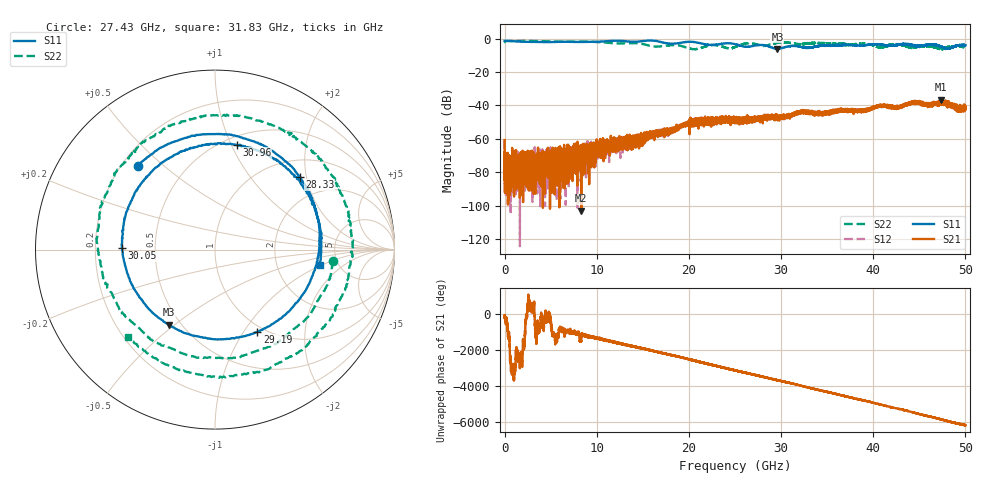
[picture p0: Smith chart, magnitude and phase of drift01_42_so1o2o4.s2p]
!Created with skrf (http://scikit-rf.org).
# Hz S RI R 50.0
!freq ReS11 ImS11 ReS21 ImS21 ReS12 ImS12 ReS22 ImS22
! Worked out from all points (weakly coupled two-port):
!   10001 points, 300 kHz to 50 GHz, reference 50 ohm
!   highest |S21| = -36.60 dB at 47.33 GHz (marker M1); lowest = -102.8 dB at 8.32 GHz (marker M2)
!   lowest |S11| = -6.2 dB at 29.61 GHz (marker M3), VSWR 2.92, Z = 21.7 - j23.9 ohm
!   |S11| at or under -10 dB: nowhere
!   |S22| runs from -6.6 to -1.4 dB; largest |S21 - S12| = 0.0037
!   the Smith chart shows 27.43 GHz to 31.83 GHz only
!   S11 on the Smith chart (normalised r, x): 27.43 GHz: 0.26, +0.41; 28.33 GHz: 1.38, +1.83; 29.19 GHz: 0.93, -1.15; 30.05 GHz: 0.32, +0.01; 30.96 GHz: 0.58, +1.05; 31.83 GHz: 3.61, -0.97
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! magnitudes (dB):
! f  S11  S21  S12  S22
! 300 kHz  -1.3  -60.7  -61.1  -2.1
! 260.3 MHz  -1.4  -77.5  -85.7  -1.4
! 4.725 GHz  -2.1  -77.8  -80.2  -1.6
! 6.14 GHz  -1.9  -79.1  -70.8  -1.9
! 8.32 GHz  -2.0  -102.8  -68.2  -1.8
! 8.335 GHz  -2.0  -65.7  -72.9  -1.8
! 16.67 GHz  -1.6  -55.6  -56.2  -4.8
! 18.62 GHz  -2.9  -53.4  -53.6  -3.9
! 20.33 GHz  -1.9  -52.2  -49.7  -6.2
! 22.6 GHz  -3.8  -47.0  -48.6  -3.8
! 25 GHz  -3.3  -48.3  -48.4  -5.1
! 27.43 GHz  -3.9  -47.4  -48.5  -3.6
! 28.33 GHz  -4.1  -47.2  -48.4  -4.2
! 29.19 GHz  -5.8  -46.7  -46.4  -3.1
! 29.61 GHz  -6.2  -47.3  -47.2  -2.6
! 30.05 GHz  -5.7  -46.4  -47.5  -2.4
! 30.96 GHz  -4.5  -46.4  -46.0  -2.5
! 31.83 GHz  -4.6  -44.5  -44.2  -3.3
! 33.34 GHz  -5.3  -45.0  -43.9  -2.6
! 41.67 GHz  -4.4  -39.7  -40.7  -4.3
! 47.33 GHz  -4.7  -36.6  -38.4  -6.5
! 50 GHz  -3.9  -40.7  -41.7  -5.4
